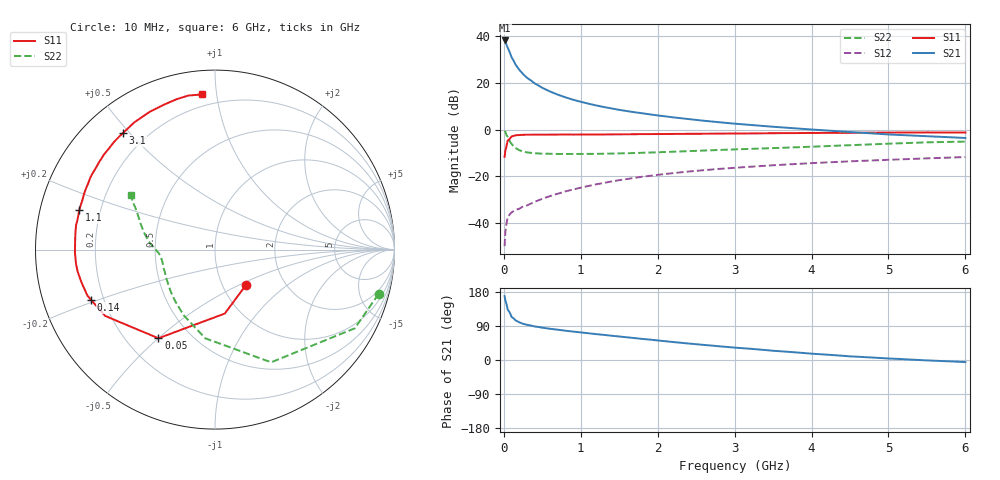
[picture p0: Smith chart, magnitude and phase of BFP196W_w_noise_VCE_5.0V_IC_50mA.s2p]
! Infineon Technologies  Discrete & RF Semiconductors
! BFP196W
! VCE =  5.0 V,  IC =  50 mA
! Common Emitter S-Parameters:  Jan 2017
# GHz  S  MA  R  50
!  f  S11  S21  S12  S22
! GHz  MAG  ANG  MAG  ANG  MAG  ANG  MAG  ANG
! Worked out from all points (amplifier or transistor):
!   77 points, 10 MHz to 6 GHz, reference 50 ohm
!   highest |S21| = 38.2 dB at 10 MHz (marker M1)
!   |S21| within 3 dB of that: start of sweep to 49.36 MHz
!   unconditionally stable (mu >= 1): 668.3 MHz to 3.293 GHz
!   at 130 MHz: K = 0.43, MSG = 32.1 dB, |S12| = -34.8 dB
!   at 2.2 GHz: K = 1.04, MAG = 10.8 dB, |S12| = -18.6 dB
!   at 6 GHz: K = 0.94, MSG = 4.1 dB, |S12| = -11.7 dB
!   lowest NFmin = 1.36 dB at 450 MHz
!   S11 on the Smith chart (normalised r, x): 10 MHz: 1.28, -0.55; 50 MHz: 0.33, -0.50; 140 MHz: 0.15, -0.19; 1.1 GHz: 0.12, +0.14; 3.1 GHz: 0.12, +0.48; 6 GHz: 0.13, +0.91
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0.01  0.2624 -49.1  81.15 168.6  0.0032 74.9  0.9442 -15.2
0.02  0.3606 -81.3  76.52 157.0  0.0065 71.0  0.8937 -29.4
0.05  0.5859 -122.5  57.13 133.0  0.0134 51.5  0.7016 -63.5
0.1  0.7151 -148.9  35.62 113.7  0.0169 44.2  0.4972 -96.3
0.14  0.7454 -158.0  27.15 107.2  0.0187 41.3  0.419 -111.1
0.15  0.7558 -160.2  25.11 104.9  0.0191 40.7  0.4048 -115.6
0.2  0.7666 -166.5  19.16 99.5  0.0202 42.9  0.3634 -127.5
0.25  0.7748 -170.9  15.46 95.6  0.0227 45.3  0.3403 -136.4
0.3  0.7784 -174.0  12.93 92.9  0.0238 48.3  0.3264 -142.5
0.4  0.7806 -178.7  9.797 88.6  0.0285 52.7  0.3126 -150.9
0.5  0.78 177.9  7.844 85.3  0.033 55.3  0.3059 -156.4
0.6  0.7817 175.0  6.555 82.4  0.0378 58.5  0.3041 -160.4
0.7  0.7838 172.6  5.619 80.0  0.0424 60.5  0.3009 -163.2
0.9  0.784 167.9  4.367 75.0  0.0523 61.4  0.3012 -167.1
1.1  0.7879 163.7  3.596 70.6  0.0622 63.0  0.3026 -169.9
1.5  0.794 155.9  2.653 62.0  0.0829 61.3  0.31 -174.7
2.1  0.8062 144.6  1.923 49.6  0.1124 57.7  0.3321 179.6
2.6  0.8167 136.2  1.551 39.8  0.1354 53.4  0.357 175.4
3.1  0.8274 128.3  1.302 31.2  0.1563 49.0  0.3822 170.9
4.1  0.85 114.2  0.982 15.4  0.1954 40.6  0.4375 161.0
5.1  0.8656 103.4  0.775 3.1  0.2293 32.5  0.5067 151.8
6  0.8677 94.9  0.663 -5.5  0.2591 25.5  0.5549 147.0
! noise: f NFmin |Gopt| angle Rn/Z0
0.45  1.36  0.51  -177  0.05
0.9  1.48  0.55  -171  0.07
1.9  2.3  0.69  -149  0.16
2.4  2.7  0.73  -144  0.26
